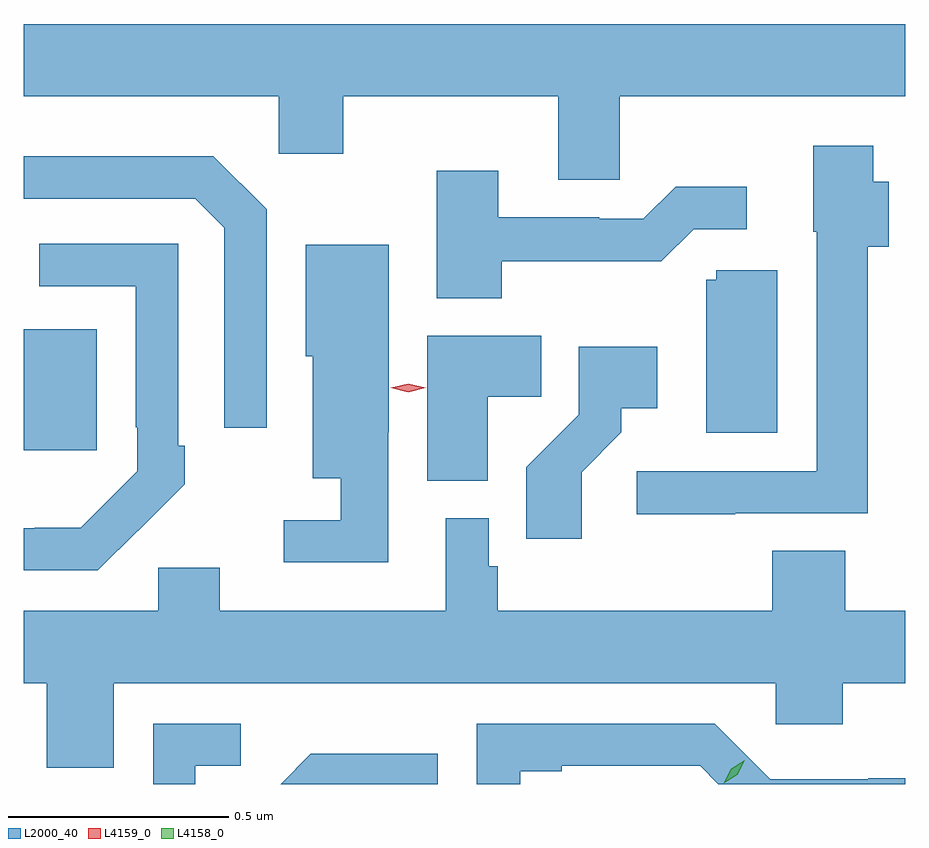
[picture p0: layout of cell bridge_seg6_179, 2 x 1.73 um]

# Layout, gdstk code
import gdstk
lib = gdstk.Library(unit=1e-6, precision=1e-09)
def R(c, l, rs):  # rectangles x0, y0, x1, y1
    for r in rs: c.add(gdstk.rectangle(r[:2], r[2:], *l))
def P(c, l, *ps):  # polygons
    for p in ps: c.add(gdstk.Polygon(p, *l))
L2000_40 = (2000, 40)
L4158_0 = (4158, 0)
L4159_0 = (4159, 0)

bridge_seg6_179 = lib.new_cell('bridge_seg6_179')
R(bridge_seg6_179, L2000_40, [(161.11,923.889,161.275,924.163)])
P(bridge_seg6_179, L2000_40, [(162.462,924.692),(163.11,924.692),(163.11,924.856),(161.11,924.856),(161.11,924.692),(161.688,924.692),(161.688,924.561),(161.835,924.561),(161.835,924.692),(162.323,924.692),(162.323,924.502),(162.462,924.502)],
  [(162.725,923.745),(163.025,923.745),(163.025,924.35),(163.073,924.35),(163.073,924.498),(163.038,924.498),(163.038,924.58),(162.902,924.58),(162.902,924.384),(162.909,924.384),(162.909,923.841),(162.501,923.841),(162.501,923.743),(162.725,923.743)],
  [(161.661,924.435),(161.54,924.556),(161.11,924.556),(161.11,924.459),(161.499,924.459),(161.565,924.393),(161.565,923.94),(161.661,923.94)],
  [(162.195,924.318),(162.458,924.318),(162.458,924.317),(162.557,924.317),(162.63,924.39),(162.751,924.39),(162.751,924.487),(162.589,924.487),(162.516,924.414),(162.416,924.414),(162.416,924.417),(162.187,924.417),(162.187,924.523),(162.047,924.523),(162.047,924.233),(162.195,924.233)],
  [(161.369,923.707),(161.37,923.706),(161.475,923.811),(161.475,923.899),(161.46,923.899),(161.46,924.357),(161.145,924.357),(161.145,924.261),(161.364,924.261),(161.364,923.941),(161.367,923.941),(161.367,923.841),(161.239,923.713),(161.135,923.713),(161.135,923.712),(161.11,923.712),(161.11,923.616),(161.278,923.616)],
  [(161.937,923.929),(161.938,923.929),(161.938,924.355),(161.75,924.355),(161.75,924.102),(161.765,924.102),(161.765,923.825),(161.829,923.825),(161.829,923.73),(161.7,923.73),(161.7,923.634),(161.937,923.634)],
  [(162.82,924.297),(162.681,924.297),(162.681,924.276),(162.659,924.276),(162.659,923.928),(162.82,923.928)],
  [(162.163,924.01),(162.284,924.01),(162.284,924.148),(162.026,924.148),(162.026,923.819),(162.163,923.819)],
  [(162.376,923.839),(162.466,923.929),(162.466,923.984),(162.547,923.984),(162.547,924.124),(162.369,924.124),(162.369,923.969),(162.25,923.85),(162.25,923.688),(162.376,923.688)],
  [(162.809,923.524),(162.185,923.524),(162.185,923.625),(162.165,923.625),(162.165,923.734),(162.068,923.734),(162.068,923.524),(161.554,923.524),(161.554,923.622),(161.415,923.622),(161.415,923.524),(161.11,923.524),(161.11,923.36),(161.162,923.36),(161.162,923.168),(161.314,923.168),(161.314,923.36),(162.816,923.36),(162.816,923.267),(162.968,923.267),(162.968,923.36),(163.11,923.36),(163.11,923.524),(162.974,923.524),(162.974,923.66),(162.809,923.66)],
  [(162.237,923.16),(162.331,923.16),(162.331,923.172),(162.645,923.172),(162.686,923.131),(163.11,923.131),(163.11,923.144),(163.026,923.144),(163.026,923.142),(162.804,923.142),(162.678,923.268),(162.138,923.268),(162.138,923.131),(162.237,923.131)],
  [(161.499,923.172),(161.602,923.172),(161.602,923.268),(161.403,923.268),(161.403,923.131),(161.499,923.131)],
  [(162.049,923.2),(161.761,923.2),(161.693,923.131),(162.049,923.131)])
P(bridge_seg6_179, L4158_0, [(162.698,923.133),(162.698,923.133),(162.715,923.166),(162.746,923.185),(162.746,923.185),(162.746,923.185),(162.729,923.152),(162.698,923.133)])
P(bridge_seg6_179, L4159_0, [(161.982,924.02),(161.943,924.03),(161.942,924.03),(161.943,924.03),(161.982,924.04),(162.022,924.03),(162.022,924.03),(162.022,924.03)])

lib.write_gds('bridge_seg6_179.gds')
